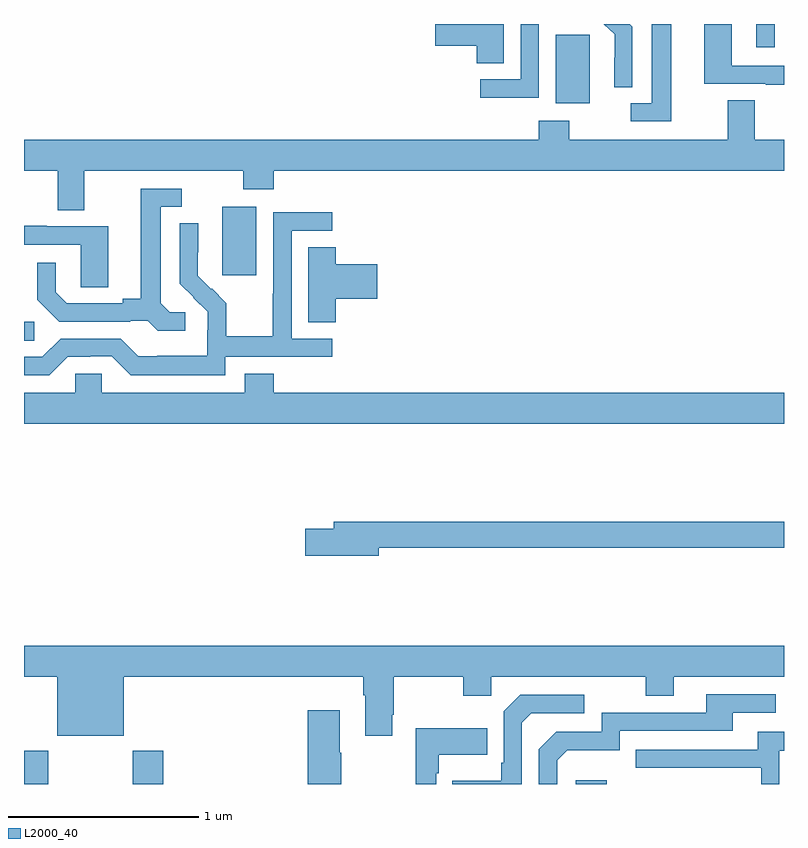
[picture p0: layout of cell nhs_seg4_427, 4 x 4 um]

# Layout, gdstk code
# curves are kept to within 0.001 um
import gdstk
lib = gdstk.Library(unit=1e-6, precision=1e-09)
def R(c, l, rs):  # rectangles x0, y0, x1, y1
    for r in rs: c.add(gdstk.rectangle(r[:2], r[2:], *l))
def P(c, l, *ps):  # polygons
    for p in ps: c.add(gdstk.Polygon(p, *l))
L2000_40 = (2000, 40)

nhs_seg4_427 = lib.new_cell('nhs_seg4_427')
R(nhs_seg4_427, L2000_40, [(131,818.9,131.127,819.076), (131.572,818.9,131.732,819.076), (133.905,818.9,134.066,818.92), (131,821.233,131.053,821.334), (132.044,821.577,132.223,821.938), (133.799,822.482,133.978,822.843), (134.855,822.777,134.952,822.9)])
P(nhs_seg4_427, L2000_40, [(134.202,822.886),(134.188,822.9),(134.052,822.9),(134.108,822.845),(134.108,822.722),(134.106,822.722),(134.106,822.568),(134.202,822.568)],
  [(133.71,822.9),(133.614,822.9),(133.614,822.609),(133.401,822.609),(133.401,822.511),(133.71,822.511)],
  [(135,822.681),(134.724,822.681),(134.724,822.9),(134.579,822.9),(134.579,822.585),(134.903,822.585),(134.903,822.581),(135,822.581)],
  [(133.525,822.9),(133.164,822.9),(133.164,822.785),(133.382,822.785),(133.382,822.694),(133.525,822.694)],
  [(134.407,822.9),(134.303,822.9),(134.303,822.483),(134.193,822.483),(134.193,822.387),(134.407,822.387)],
  [(131.317,822.128),(132.154,822.128),(132.154,822.029),(132.314,822.029),(132.314,822.128),(135,822.128),(135,822.292),(134.845,822.292),(134.845,822.5),(134.705,822.5),(134.705,822.292),(133.869,822.292),(133.869,822.391),(133.709,822.391),(133.709,822.292),(131,822.292),(131,822.128),(131.177,822.128),(131.177,821.92),(131.317,821.92)],
  [(131.848,821.382),(131.766,821.382),(131.719,821.429),(131.719,821.937),(131.83,821.937),(131.83,822.033),(131.615,822.033),(131.615,821.453),(131.519,821.453),(131.519,821.43),(131.224,821.43),(131.167,821.487),(131.167,821.644),(131.07,821.644),(131.07,821.45),(131.186,821.334),(131.558,821.334),(131.558,821.337),(131.652,821.337),(131.704,821.285),(131.848,821.285)],
  [(132.06,821.148),(132.622,821.148),(132.622,821.244),(132.408,821.244),(132.408,821.811),(132.622,821.811),(132.622,821.91),(132.312,821.91),(132.312,821.48),(132.31,821.48),(132.31,821.257),(132.065,821.257),(132.065,821.431),(131.988,821.508),(131.985,821.505),(131.915,821.576),(131.916,821.852),(131.82,821.852),(131.82,821.534),(131.966,821.386),(131.966,821.289),(131.964,821.289),(131.964,821.155),(131.701,821.155),(131.701,821.151),(131.601,821.151),(131.508,821.244),(131.193,821.244),(131.097,821.148),(131,821.148),(131,821.052),(131.133,821.052),(131.229,821.148),(131.348,821.148),(131.348,821.151),(131.463,821.151),(131.563,821.051),(132.06,821.051)],
  [(131.443,821.835),(131.119,821.835),(131.119,821.839),(131,821.839),(131,821.739),(131.298,821.739),(131.298,821.515),(131.443,821.515)],
  [(132.641,821.453),(132.859,821.453),(132.859,821.636),(132.641,821.636),(132.641,821.726),(132.497,821.726),(132.497,821.329),(132.641,821.329)],
  [(135,820.96),(132.314,820.96),(132.314,821.059),(132.161,821.059),(132.161,820.96),(131.409,820.96),(131.409,821.058),(131.271,821.058),(131.271,820.96),(131,820.96),(131,820.796),(135,820.796)],
  [(132.868,820.144),(135,820.144),(135,820.28),(132.629,820.28),(132.629,820.244),(132.48,820.244),(132.48,820.102),(132.868,820.102)],
  [(132.937,819.265),(132.945,819.265),(132.945,819.464),(133.312,819.464),(133.312,819.365),(133.458,819.365),(133.458,819.464),(134.272,819.464),(134.272,819.365),(134.419,819.365),(134.419,819.464),(135,819.464),(135,819.628),(131,819.628),(131,819.464),(131.174,819.464),(131.174,819.155),(131.524,819.155),(131.524,819.464),(132.785,819.464),(132.785,819.368),(132.797,819.368),(132.797,819.153),(132.937,819.153)],
  [(133.806,819.024),(133.859,819.077),(134.136,819.077),(134.136,819.18),(134.731,819.18),(134.731,819.276),(134.956,819.276),(134.956,819.372),(134.591,819.372),(134.591,819.276),(134.04,819.276),(134.04,819.174),(133.8,819.174),(133.71,819.084),(133.71,818.9),(133.806,818.9)],
  [(133.62,819.222),(133.671,819.273),(133.948,819.273),(133.948,819.369),(133.611,819.369),(133.524,819.282),(133.524,819.013),(133.512,819.013),(133.512,818.917),(133.255,818.917),(133.255,818.9),(133.62,818.9)],
  [(132.669,819.065),(132.661,819.065),(132.661,819.289),(132.494,819.289),(132.494,818.9),(132.669,818.9)],
  [(133.17,818.957),(133.183,818.957),(133.183,819.053),(133.439,819.053),(133.439,819.193),(133.062,819.193),(133.062,818.9),(133.17,818.9)],
  [(134.976,819.075),(135,819.075),(135,819.175),(134.861,819.175),(134.861,819.081),(134.221,819.081),(134.221,818.985),(134.88,818.985),(134.88,818.9),(134.976,818.9)])

lib.write_gds('nhs_seg4_427.gds')
